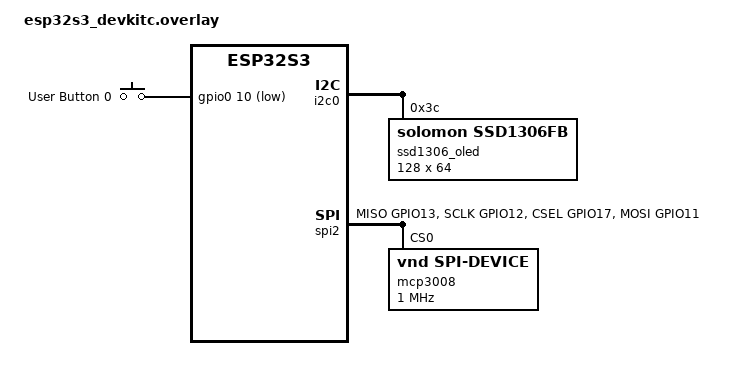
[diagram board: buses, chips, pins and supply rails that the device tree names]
/*
 * MCP3008 + OLED overlay:
 * - SSD1306 OLED on I2C0 (0x3C)
 * - Button on GPIO10 (pull-up, active-low)
 * - MCP3008 on SPI2 (GPIO12/11/13 for SCLK/MOSI/MISO, GPIO17 for CS)
 */
/ {
	aliases {
		sw0 = &user_button0;
	};

	chosen {
		zephyr,display = &ssd1306_oled;
	};
};

&gpio0 {
	status = "okay";
};

&i2c0 {
	status = "okay";

	ssd1306_oled: ssd1306@3c {
		compatible = "solomon,ssd1306fb";
		reg = <0x3c>;
		width = <128>;
		height = <64>;
		segment-offset = <0>;
		page-offset = <0>;
		display-offset = <0>;
		multiplex-ratio = <63>;
		segment-remap;
		com-invdir;
		prechargep = <0x22>;
	};

};

/* Map SPI2 hardware CS to GPIO17. */
&pinctrl {
	spim2_gpio17_default: spim2_gpio17_default {
		group1 {
			pinmux = <SPIM2_MISO_GPIO13>,
				 <SPIM2_SCLK_GPIO12>,
				 <SPIM2_CSEL_GPIO17>;
		};
		group2 {
			pinmux = <SPIM2_MOSI_GPIO11>;
			output-low;
		};
	};
};

&spi2 {
	status = "okay";
	pinctrl-0 = <&spim2_gpio17_default>;
	pinctrl-names = "default";

	mcp3008: mcp3008@0 {
		compatible = "vnd,spi-device";
		reg = <0>;
		spi-max-frequency = <1000000>;
	};
};

/ {
	buttons {
		compatible = "gpio-keys";
		user_button0: button_0 {
			gpios = <&gpio0 10 (GPIO_PULL_UP | GPIO_ACTIVE_LOW)>;
			label = "User Button 0";
		};
	};
};
